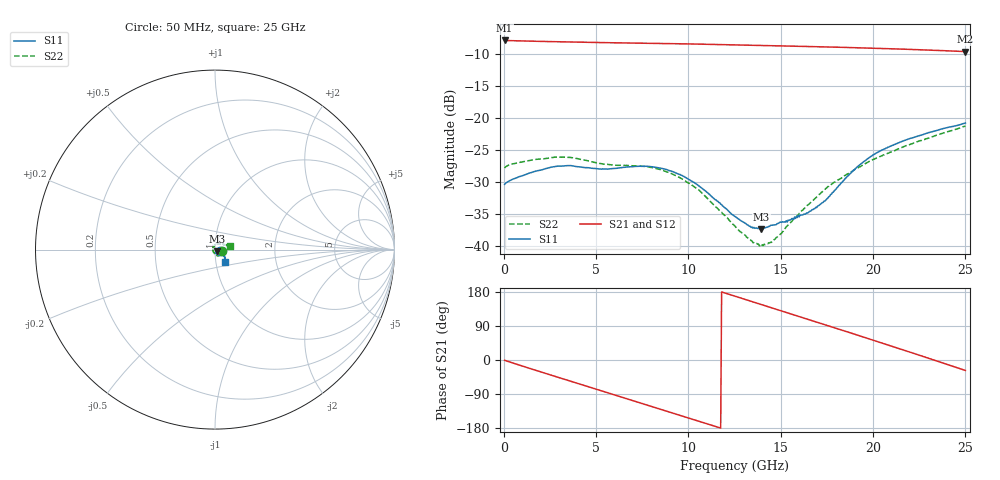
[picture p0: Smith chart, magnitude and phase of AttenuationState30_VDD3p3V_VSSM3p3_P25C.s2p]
! Device: ADRF5703
! Frequency: 9kHz – 20 GHz
! Ports:
! ATTIN  = Port 1
! ATTOUT = Port 2
! Attenuation bit: 30
! Attenuation state: 7.5dB
! VDD = VDD3
! Temperature = 3V_V
! Data: Data was collected using a calibrated network analyzer.
! The reference plane is the package pins of ADRF5703.
! Note: Analog Devices supplies this data as a sample of measured data for this product.
! Your particular data for this product may vary.
! Analog Devices reserves the right to change this data at anytime
# GHZ S DB R 50
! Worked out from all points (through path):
!   500 points, 50 MHz to 25 GHz, reference 50 ohm
!   highest |S21| = -7.96 dB at 50 MHz (marker M1); lowest = -9.7 dB at 25 GHz (marker M2)
!   group delay of S21, straight-line fit = 42.8 ps
!   lowest |S11| = -37.4 dB at 13.95 GHz (marker M3), VSWR 1.03, Z = 50.9 - j0.978 ohm
!   |S11| at or under -10 dB: start of sweep to end of sweep
!   |S22| runs from -40.0 to -21.3 dB; largest |S21 - S12| = 0.0014
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0.05  -30.39 -11.4  -7.96 -0.8  -7.97 -0.8  -27.84 -7.1
1.3  -28.73 1.4  -8.05 -20.5  -8.06 -20.5  -26.72 -3.9
2.6  -27.68 -8.0  -8.14 -40.4  -8.15 -40.4  -26.20 -13.5
4.25  -27.73 -22.7  -8.23 -65.5  -8.24 -65.5  -26.54 -30.1
5.3  -28.02 -28.4  -8.29 -81.4  -8.29 -81.4  -27.18 -37.2
6.3  -27.79 -34.0  -8.33 -96.6  -8.34 -96.6  -27.43 -41.9
7.35  -27.57 -40.9  -8.37 -112.5  -8.38 -112.6  -27.55 -49.8
8.4  -27.81 -51.0  -8.42 -128.5  -8.43 -128.5  -28.02 -60.2
9.65  -28.98 -62.2  -8.48 -147.5  -8.49 -147.5  -29.52 -76.6
10.55  -30.58 -67.8  -8.53 -161.3  -8.53 -161.3  -31.25 -88.4
12.55  -35.45 -66.8  -8.64 168.1  -8.65 168.1  -36.99 -128.5
13.4  -37.10 -55.4  -8.69 155.1  -8.70 155.1  -39.16 -153.0
13.95  -37.39 -45.3  -8.72 146.6  -8.73 146.6  -40.02 179.8
14.6  -36.72 -36.0  -8.76 136.6  -8.77 136.6  -39.19 153.8
16.7  -34.33 -23.6  -8.91 104.1  -8.91 104.1  -33.02 100.6
17.5  -32.65 -18.0  -8.96 91.7  -8.97 91.6  -30.91 86.9
18.7  -28.89 -18.6  -9.06 72.8  -9.06 72.7  -28.63 60.2
19.8  -26.20 -27.6  -9.15 55.5  -9.16 55.4  -26.80 44.4
20.85  -24.59 -33.8  -9.24 39.0  -9.25 38.8  -25.51 33.8
21.9  -23.33 -38.0  -9.34 22.4  -9.34 22.1  -24.25 26.1
22.9  -22.41 -43.6  -9.44 6.3  -9.45 6.1  -23.27 19.9
25  -20.82 -50.2  -9.69 -27.6  -9.69 -27.7  -21.32 12.8
